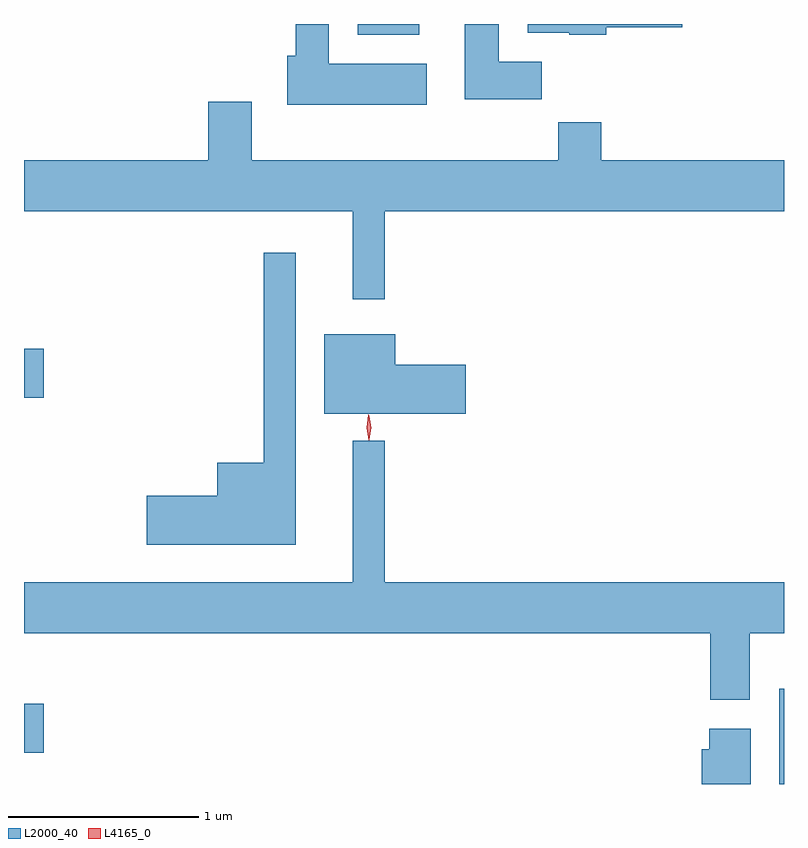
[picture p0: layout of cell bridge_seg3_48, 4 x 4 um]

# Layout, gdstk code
import gdstk
lib = gdstk.Library(unit=1e-6, precision=1e-09)
def R(c, l, rs):  # rectangles x0, y0, x1, y1
    for r in rs: c.add(gdstk.rectangle(r[:2], r[2:], *l))
def P(c, l, *ps):  # polygons
    for p in ps: c.add(gdstk.Polygon(p, *l))
L2000_40 = (2000, 40)
L4165_0 = (4165, 0)

bridge_seg3_48 = lib.new_cell('bridge_seg3_48')
R(bridge_seg3_48, L2000_40, [(1202.086,1162.962,1202.11,1163.464), (1198.11,1163.126,1198.214,1163.384), (1198.11,1164.996,1198.214,1165.254), (1199.866,1166.906,1200.189,1166.962)])
P(bridge_seg3_48, L2000_40, [(1201.174,1166.946),(1201.574,1166.946),(1201.574,1166.962),(1200.761,1166.962),(1200.761,1166.916),(1200.98,1166.916),(1200.98,1166.906),(1201.174,1166.906)],
  [(1200.229,1166.754),(1199.714,1166.754),(1199.714,1166.962),(1199.541,1166.962),(1199.541,1166.794),(1199.496,1166.794),(1199.496,1166.536),(1200.229,1166.536)],
  [(1200.834,1166.764),(1200.609,1166.764),(1200.609,1166.962),(1200.431,1166.962),(1200.431,1166.566),(1200.834,1166.566)],
  [(1200.009,1165.976),(1202.11,1165.976),(1202.11,1166.244),(1201.149,1166.244),(1201.149,1166.444),(1200.921,1166.444),(1200.921,1166.244),(1199.309,1166.244),(1199.309,1166.554),(1199.081,1166.554),(1199.081,1166.244),(1198.11,1166.244),(1198.11,1165.976),(1199.841,1165.976),(1199.841,1165.513),(1200.009,1165.513)],
  [(1199.539,1165.758),(1199.371,1165.758),(1199.371,1164.654),(1199.126,1164.654),(1199.126,1164.479),(1198.756,1164.479),(1198.756,1164.221),(1199.539,1164.221)],
  [(1200.434,1165.169),(1200.064,1165.169),(1200.064,1165.329),(1199.691,1165.329),(1199.691,1164.911),(1200.434,1164.911)],
  [(1201.929,1163.756),(1202.11,1163.756),(1202.11,1164.024),(1200.009,1164.024),(1200.009,1164.768),(1199.841,1164.768),(1199.841,1164.024),(1198.11,1164.024),(1198.11,1163.756),(1201.721,1163.756),(1201.721,1163.406),(1201.929,1163.406)],
  [(1201.934,1163.254),(1201.716,1163.254),(1201.716,1163.144),(1201.676,1163.144),(1201.676,1162.962),(1201.934,1162.962)])
P(bridge_seg3_48, L4165_0, [(1199.924,1164.77),(1199.914,1164.838),(1199.923,1164.906),(1199.924,1164.906),(1199.924,1164.906),(1199.934,1164.838),(1199.926,1164.77),(1199.925,1164.77)],
  [(1199.927,1164.773),(1199.918,1164.836),(1199.927,1164.899),(1199.928,1164.9),(1199.928,1164.899),(1199.938,1164.836),(1199.928,1164.773),(1199.928,1164.773)])

lib.write_gds('bridge_seg3_48.gds')
